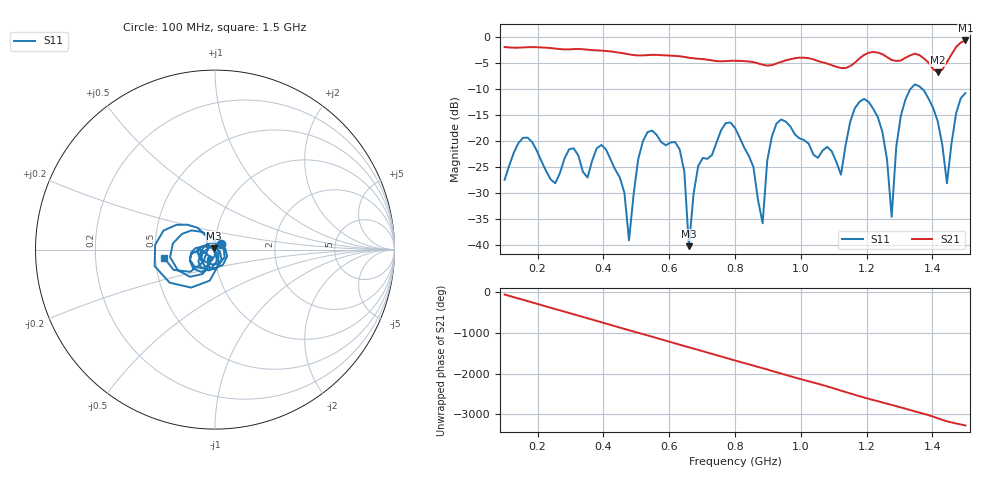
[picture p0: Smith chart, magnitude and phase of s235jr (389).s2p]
! NanoVNA-App
! Date: 2025-09-25 15:07:11
! Start: 100MHz Stop: 1,5GHz Points: 101
! S-Parameter data: F S11 S21 S12 S22
# Hz S RI R 50
!  Frequency  S11_Real  S11_Imag  S21_Real  S21_Imag  S12_Real  S12_Imag  S22_Real  S22_Imag
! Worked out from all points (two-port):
!   101 points, 100 MHz to 1.5 GHz, reference 50 ohm
!   highest |S21| = -0.70 dB at 1.5 GHz (marker M1); lowest = -6.8 dB at 1.416 GHz (marker M2)
!   |S21| within 3 dB of the highest: start of sweep to 624.4 MHz; 1.188 GHz to 1.257 GHz (69.38 MHz wide, 5.68 % of centre) (the widest 2 of 4)
!   lowest |S11| = -40.2 dB at 660 MHz (marker M3), VSWR 1.02, Z = 49.3 + j0.621 ohm
!   |S11| at or under -10 dB: start of sweep to 1.333 GHz; 1.369 GHz to end of sweep
!   S12 and S22 are empty: the file has one direction only
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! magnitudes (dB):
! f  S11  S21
! 100 MHz  -27.5  -2.0
! 156 MHz  -19.4  -2.0
! 338 MHz  -25.9  -2.4
! 408 MHz  -21.6  -2.7
! 478 MHz  -39.1  -3.4
! 520 MHz  -20.1  -3.6
! 576 MHz  -20.2  -3.5
! 632 MHz  -21.7  -3.7
! 660 MHz  -40.2  -4.0
! 688 MHz  -24.9  -4.2
! 800 MHz  -17.5  -4.6
! 884 MHz  -35.9  -5.4
! 926 MHz  -16.7  -5.1
! 1.038 GHz  -22.6  -4.3
! 1.122 GHz  -26.5  -6.0
! 1.206 GHz  -12.5  -3.0
! 1.248 GHz  -18.3  -3.3
! 1.276 GHz  -34.6  -4.5
! 1.332 GHz  -10.1  -3.6
! 1.416 GHz  -16.2  -6.8
! 1.444 GHz  -28.1  -4.9
! 1.5 GHz  -10.8  -0.7
